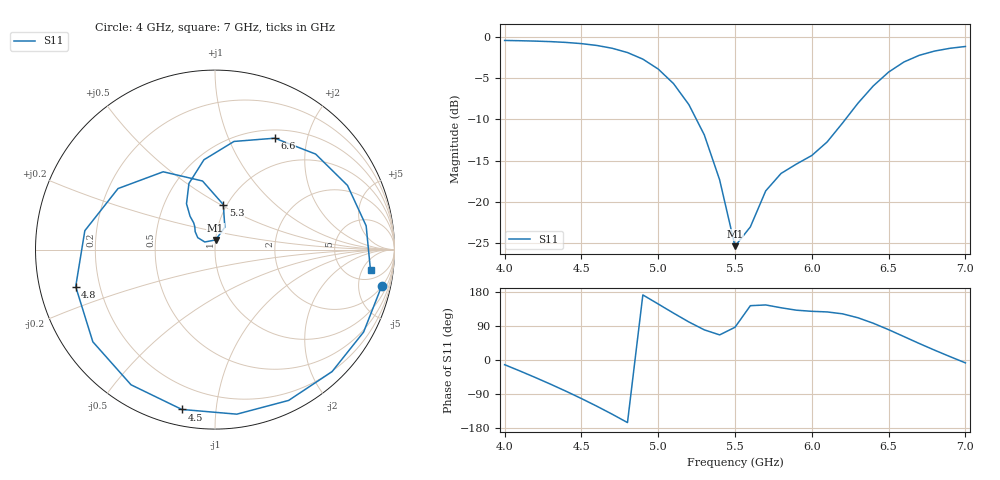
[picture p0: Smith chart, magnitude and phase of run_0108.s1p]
! Touchstone file exported from HFSS 2024.2.0
!  File:  C:/Users/wsak9/Desktop/Sim Fast/Widenad Patch/WP_AI_V1_sweep.aedt
!  Generated:  07:24:14 PM Oct 13, 2026
!  Design:  A1_model
!  Project:  WP_AI_V1_sweep
!  Setup:  Setup1
!  Solution:  Sweep
! Variables:
!  Air_gap = 3.43mm
!  Curve_Amp1 = 1.16
!  Curve_len1 = 1
!  Curve_pos = 10.76mm
!  Extra = 6.49mm
!  H_sub = 0.79mm
!  L_Patch = 17.52mm
!  L_Patch1 = 14.61mm
!  Sx = 2.36mm
!  Sy = 1.87mm
!  WS = 1.41mm
!  W_Patch = 14.24mm
!  W_Patch1 = 8.12mm
!Data is not renormalized
# GHz S MA
! Terminal data exported
! Port[1] = 1
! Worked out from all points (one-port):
!   31 points, 4 GHz to 7 GHz, reference per port
!   lowest |S11| = -25.3 dB at 5.5 GHz (marker M1), VSWR 1.11
!   |S11| at or under -10 dB: 5.249 GHz to 6.218 GHz (969.1 MHz wide, 16.9 % of centre)
!   S11 on the Smith chart (normalised r, x): 4 GHz: 2.07, -8.74; 4.5 GHz: 0.08, -0.81; 4.8 GHz: 0.11, -0.13; 5.3 GHz: 0.96, +0.52; 6.6 GHz: 0.61, +1.50; 7 GHz: 8, -7
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4  0.9505 -12.4
4.1  0.9469 -29.0
4.2  0.9421 -46.2
4.3  0.9351 -64.0
4.4  0.9249 -82.5
4.5  0.9096 -101.7
4.6  0.8867 -121.8
4.7  0.8527 -143.0
4.8  0.8031 -165.1
4.9  0.7329 171.7
5  0.6384 147.8
5.1  0.5208 123.7
5.2  0.3885 100.3
5.3  0.2553 79.6
5.4  0.1364 66.3
5.5  0.05415 86.4
5.6  0.07084 143.3
5.7  0.117 145.3
5.9  0.17 131.4
6.1  0.2313 126.9
6.3  0.3961 111.5
6.4  0.5043 97.0
6.5  0.6118 80.0
6.6  0.7044 61.8
6.7  0.7731 43.5
6.8  0.8202 25.9
6.9  0.8525 8.9
7  0.874 -7.6
